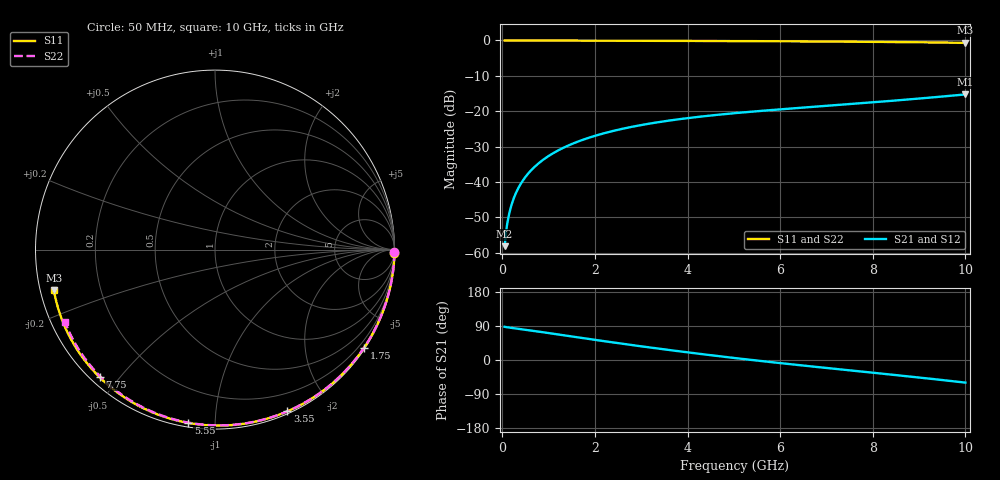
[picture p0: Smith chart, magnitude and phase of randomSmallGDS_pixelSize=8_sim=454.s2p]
! freq	dB(S11)	phase(S11)	dB(S12)	phase(S12)
!  dB(S21)	phase(S21)	dB(S22)	phase(S22)
!S-par simulation data
#  GHz  S  DB  R 50
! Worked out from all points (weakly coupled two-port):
!   200 points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, 50 MHz to 10 GHz, reference 50 ohm
!   highest |S21| = -15.27 dB at 10 GHz (marker M1); lowest = -58.2 dB at 50 MHz (marker M2)
!   lowest |S11| = -0.7 dB at 10 GHz (marker M3), VSWR 25.92, Z = 1.96 - j6.14 ohm
!   |S11| at or under -10 dB: nowhere
!   |S22| runs from -0.6 to 0.0 dB; largest |S21 - S12| = 0
!   S11 on the Smith chart (normalised r, x): 50 MHz: open; 1.75 GHz: 0.03, -3.32; 3.55 GHz: 0.02, -1.54; 5.55 GHz: 0.02, -0.86; 7.75 GHz: 0.03, -0.44; 10 GHz: 0.04, -0.12
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0.05  -0.00 -1.0  -58.16 87.7  -58.16 87.7  -0.00 -0.9
0.1  -0.00 -2.0  -52.29 86.4  -52.29 86.4  -0.00 -1.8
0.15  -0.00 -2.9  -48.87 85.6  -48.87 85.6  -0.00 -2.7
0.2  -0.00 -3.9  -46.43 84.9  -46.43 84.9  -0.00 -3.6
0.25  -0.00 -4.9  -44.53 84.1  -44.53 84.1  -0.00 -4.5
0.35  -0.01 -6.8  -41.65 82.5  -41.65 82.5  -0.00 -6.3
0.5  -0.01 -9.7  -38.59 80.0  -38.59 80.0  -0.01 -9.0
0.7  -0.02 -13.6  -35.70 76.4  -35.70 76.4  -0.02 -12.6
1  -0.03 -19.3  -32.67 71.0  -32.67 71.0  -0.02 -17.9
1.35  -0.04 -26.0  -30.15 64.7  -30.15 64.7  -0.03 -24.1
1.75  -0.05 -33.5  -28.03 57.6  -28.03 57.6  -0.05 -31.1
2.6  -0.08 -49.1  -24.96 42.8  -24.96 42.8  -0.07 -45.6
3.4  -0.10 -63.3  -23.04 29.6  -23.04 29.6  -0.10 -58.8
3.55  -0.11 -65.9  -22.75 27.2  -22.75 27.2  -0.10 -61.2
4.3  -0.14 -78.6  -21.50 15.7  -21.50 15.7  -0.13 -73.1
5.05  -0.17 -90.8  -20.52 4.8  -20.52 4.8  -0.16 -84.5
5.55  -0.20 -98.7  -19.95 -2.2  -19.95 -2.2  -0.19 -92.0
6.7  -0.28 -116.4  -18.78 -17.2  -18.78 -17.2  -0.26 -108.5
7.75  -0.37 -132.0  -17.75 -30.4  -17.75 -30.4  -0.35 -123.1
8.35  -0.43 -140.9  -17.13 -37.9  -17.13 -37.9  -0.41 -131.3
9.2  -0.54 -153.7  -16.20 -48.9  -16.20 -48.9  -0.52 -143.0
10  -0.67 -166.0  -15.27 -59.7  -15.27 -59.7  -0.64 -154.1
